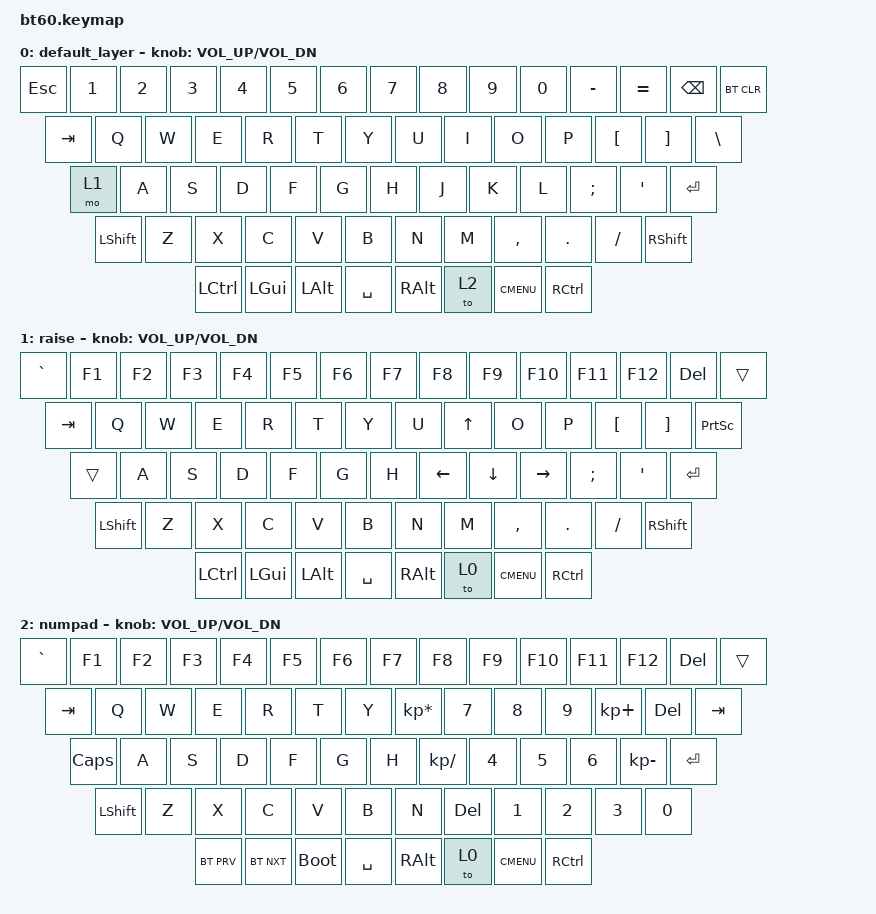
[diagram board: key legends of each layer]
#include <behaviors.dtsi>
#include <dt-bindings/zmk/keys.h>
#include <dt-bindings/zmk/bt.h>

/ {
        keymap {
                compatible = "zmk,keymap";

                default_layer {
                                // ------------------------------------------------------------------------------------------
                                // | ESC |  1  |  2  |  3  |  4  |  5  |  6  |  7  |  8  |  9  |  0  |  -  |  =  |   BKSP   | DEL
                                // | TAB  |  Q  |  W  |  E  |  R  |  T  |  Y  |  U  |  I  |  O  |  P  |  [  |  ]  |   |    |
                                // | CAPS  |  A  |  S  |  D  |  F  |  G  |  H  |  J  |  K  |  L  |  ;  |  '  |     ENTER    |
                                // |  SHIFT    |  Z  |  X  |  C  |  V  |  B  |  N  |  M  |  ,  |  .  | /   |      SHIFT     |
                                // |  CTL  |  WIN  |  ALT  |            SPACE               | ALT | 1    |  MENU    |  CTRL    |
                                // ------------------------------------------------------------------------------------------
                        bindings = <
                                &kp ESC &kp N1 &kp N2 &kp N3 &kp N4 &kp N5 &kp N6 &kp N7 &kp  N8   &kp  N9 &kp  N0  &kp MINUS &kp EQUAL &kp BSPC &bt BT_CLR
                                &kp TAB  &kp Q  &kp W  &kp E  &kp R  &kp T  &kp Y  &kp U  &kp  I    &kp  O  &kp  P   &kp LBKT &kp RBKT  &kp BSLH
                                &mo 1  &kp A  &kp S  &kp D  &kp F  &kp G  &kp H  &kp J  &kp  K    &kp  L  &kp SEMI &kp SQT           &kp RET
                                &kp LSHFT  &kp Z  &kp X  &kp C  &kp V  &kp B  &kp N  &kp M  &kp COMMA &kp DOT &kp FSLH             &kp RSHFT
                                &kp LCTRL &kp LGUI &kp LALT            &kp SPACE                          &kp RALT  &to 2 &kp K_CMENU &kp RCTRL
                        >;
                        sensor-bindings = <&inc_dec_kp C_VOL_UP C_VOL_DN>;
                };
                raise {
                        bindings = <
                                &kp GRAVE &kp F1 &kp F2 &kp F3 &kp F4 &kp F5 &kp F6 &kp F7 &kp  F8   &kp  F9 &kp  F10  &kp F11 &kp F12   &kp DEL &trans
                                &kp TAB  &kp Q  &kp W  &kp E  &kp R  &kp T  &kp Y  &kp U  &kp  UP    &kp  O  &kp  P   &kp LBKT &kp RBKT  &kp PSCRN
                                &trans  &kp A  &kp S  &kp D  &kp F  &kp G  &kp H  &kp LEFT  &kp  DOWN    &kp  RIGHT  &kp SEMI &kp SQT           &kp RET
                                &kp LSHFT  &kp Z  &kp X  &kp C  &kp V  &kp B  &kp N  &kp M  &kp COMMA &kp DOT &kp FSLH             &kp RSHFT
                                &kp LCTRL &kp LGUI &kp LALT            &kp SPACE                          &kp RALT  &to 0 &kp K_CMENU &kp RCTRL
                        >;
                        sensor-bindings = <&inc_dec_kp C_VOL_UP C_VOL_DN>;
                };
               numpad {
                        bindings = <
                                &kp GRAVE &kp F1 &kp F2 &kp F3 &kp F4 &kp F5 &kp F6 &kp F7 &kp  F8   &kp  F9 &kp  F10  &kp F11 &kp F12   &kp DEL &trans
                                &kp TAB  &kp Q  &kp W  &kp E  &kp R  &kp T  &kp Y  &kp KP_MULTIPLY  &kp  N7    &kp  N8  &kp  N9   &kp KP_PLUS &kp DEL  &kp TAB
                                &kp CLCK  &kp A  &kp S  &kp D  &kp F  &kp G  &kp H  &kp KP_DIVIDE  &kp  N4    &kp  N5  &kp N6 &kp KP_MINUS           &kp RET
                                &kp LSHFT  &kp Z  &kp X  &kp C  &kp V  &kp B  &kp N  &kp DEL  &kp N1 &kp N2 &kp N3             &kp N0
                                &bt BT_PRV &bt BT_NXT &bootloader            &kp SPACE                          &kp RALT  &to 0 &kp K_CMENU &kp RCTRL
                        >;
                        sensor-bindings = <&inc_dec_kp C_VOL_UP C_VOL_DN>;
                };
        };
};
